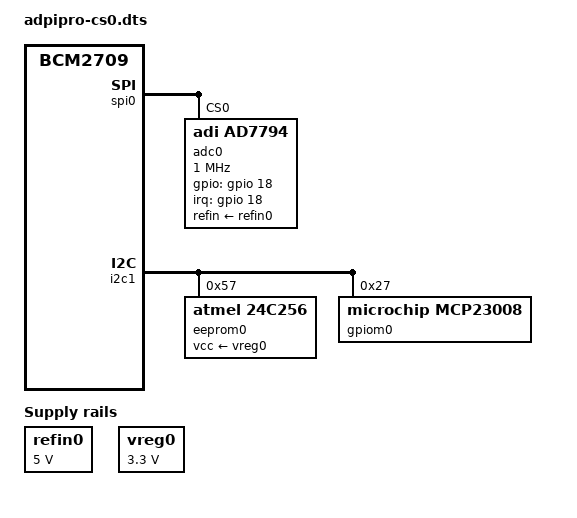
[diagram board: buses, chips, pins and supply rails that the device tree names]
/dts-v1/;
/plugin/;

/ {
	compatible = "brcm,bcm2835", "brcm,bcm2836", "brcm,bcm2708", "brcm,bcm2709";

	fragment@0 {
		target-path = "/";
		__overlay__ {
			refin0: fixedregulator_5v0_refin0 {
				compatible = "regulator-fixed";
				regulator-name = "max6126-adpi0";
				regulator-min-microvolt = <5000000>;
				regulator-max-microvolt = <5000000>;
				regulator-always-on;
				regulator-boot-on;
			};
			vreg0: fixedregulator_3v3_vcc0 {
				compatible = "regulator-fixed";
				regulator-name = "lp2992-adpi0";
				regulator-min-microvolt = <3300000>;
				regulator-max-microvolt = <3300000>;
				regulator-always-on;
				regulator-boot-on;
			};
		};
	};
	
	fragment@1 {
		target = <&spi0>;
		__overlay__ {
			status = "okay";
		};
	};
	
	fragment@2 {
		target = <&spidev0>;
		__overlay__ {
			status = "disabled";
		};
	};
	
	fragment@3 {
		target = <&spidev1>;
		__overlay__ {
			status = "disabled";
		};
	};
	
	fragment@4 {
		target = <&gpio>;
		__overlay__ {
			ad7794_irq0: ad7794_pins18 {
				brcm,pins = <18>;
				brcm,function = <0>;
				brcm,pull = <2>; /* 2: up */
			};
		};
	};
	
	fragment@5 {
		target = <&spi0>;
		__overlay__ {
			#address-cells = <1>;
			#size-cells = <0>;
			
			adc0: ad7794@0 {
				compatible = "adi,ad7794";
				reg = <0>;
				
				spi-max-frequency = <1000000>;
				spi-cpha;
				spi-cpol;
				
				interrupt-names = "irq";
				interrupts = <18 0x08>;
				interrupt-parent = <&gpio>;
				
				pinctrl-names = "default";
				pinctrl-0 = <&ad7794_irq0>;
				gpios = <&gpio 18 0>;
				
				adi,reference-select = <0>;
				refin-supply = <&refin0>;
			};
		};
	};
	
	fragment@6 {
		target = <&i2c1>;
		__overlay__ {
			status = "okay";
		};
	};
	
	fragment@7 {
		target = <&i2c1>;
		__overlay__ {
			#address-cells = <1>;
			#size-cells = <0>;
			
			eeprom0: at24c256@57 {
				compatible = "atmel,24c256";
				reg = <0x57>;
				
				pagesize = <256>;
				vcc-supply = <&vreg0>;
			};
		};
	};

	fragment@8 {
		target = <&i2c1>;
		__overlay__ {
			#address-cells = <1>;
			#size-cells = <0>;
			
			gpiom0: mcp23008@27 {
				compatible = "microchip,mcp23008";
				gpio-controller;
				#gpio-cells = <2>;
				reg = <0x27>;
				gpio-line-names = "adpipro0_ch0",
						  "adpipro0_ch1",
						  "adpipro0_ch2",
						  "adpipro0_ch3";
			};
		};
	};

	__overrides__ {
		eeprom = <&eeprom0>,"reg:0";
		gpio = <&gpiom0>,"reg:0";
		irq = <&ad7794_irq0>,"brcm,pins:0", <&adc0>,"interrupts:0";
	};
};

